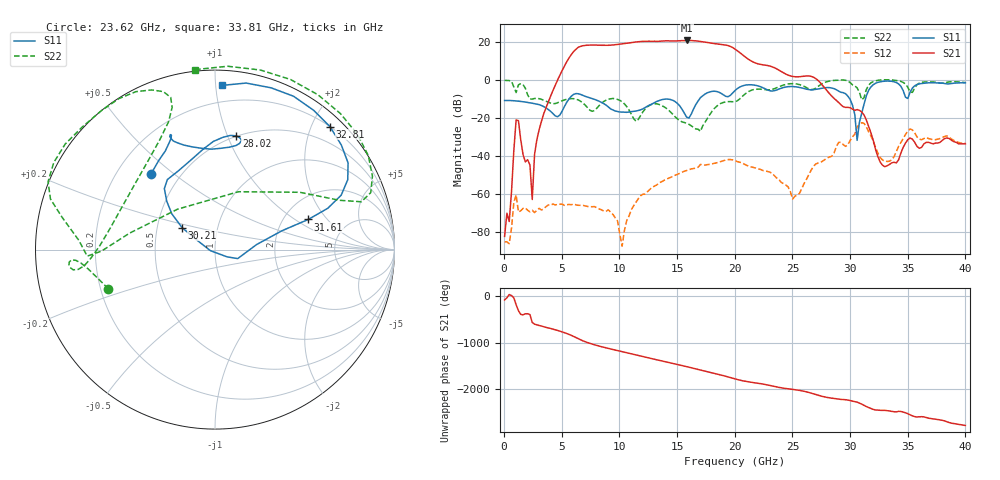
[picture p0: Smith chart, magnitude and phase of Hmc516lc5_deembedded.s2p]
!Hittite Microwave Corporation
!20 Alpha Road
!Chelmsford, MA 01824
!Tel: 978-250-3343
!Fax: 978-250-3373
!Device: HMC516lc5, 12-16 GHz, LNA
!Misc:  Vdd = +3V, Room
# MHZ S MA R 50
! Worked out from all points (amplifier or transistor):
!   201 points, 50 MHz to 40 GHz, reference 50 ohm
!   highest |S21| = 21.1 dB at 15.83 GHz (marker M1)
!   |S21| within 3 dB of that: 6.712 GHz to 19.56 GHz (12.85 GHz wide, 97.8 % of centre)
!   unconditionally stable (mu >= 1): start of sweep to 28.55 GHz; 29.65 GHz to 32.39 GHz; 33.91 GHz to end of sweep
!   at 6.642 GHz: K = 96.11, MAG = 19.2 dB, |S12| = -66.0 dB
!   at 20.02 GHz: K = 6.60, MAG = 18.3 dB, |S12| = -42.4 dB
!   at 40 GHz: K = 66.03, MAG = -21.4 dB, |S12| = -33.2 dB
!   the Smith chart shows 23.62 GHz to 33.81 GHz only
!   S11 on the Smith chart (normalised r, x): 23.62 GHz: 0.34, +0.42; 28.02 GHz: 0.50, +1.08; 30.21 GHz: 0.67, +0.17; 31.61 GHz: 2.71, +1.30; 32.81 GHz: 0.20, +2.29; 33.81 GHz: 0.09, +1.04
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50  0.294 -0.9  7.555e-05 -79.0  5.442e-05 45.1  0.998 -4.2
5842.75  0.384 -34.8  4.837 -123.8  0.0005189 24.5  0.329 86.0
6841.5  0.4 -111.3  8.229 118.9  0.0004987 -1.8  0.252 69.1
8239.75  0.281 -154.8  8.509 6.3  0.0004021 -43.5  0.214 -30.3
10037.5  0.146 -126.0  9.024 -102.0  8.778e-05 -146.0  0.296 -42.9
11635.5  0.16 -151.2  10.47 164.0  0.0007412 4.7  0.092 -126.2
12634.25  0.222 155.2  10.77 105.1  0.001311 -32.0  0.22 -157.1
13433.25  0.291 124.1  10.79 61.3  0.001935 -59.0  0.231 -157.2
14631.75  0.297 101.6  10.97 -7.6  0.002896 -103.1  0.127 -164.6
15830.25  0.107 54.5  11.31 -76.5  0.004145 -153.6  0.073 138.3
17428.25  0.434 -31.3  10.19 -174.0  0.005759 124.1  0.078 124.8
18826.5  0.453 -48.2  8.86 101.5  0.007227 51.4  0.249 61.3
20025  0.537 -151.9  6.7 17.6  0.007622 -20.3  0.273 0.6
23620.5  0.552 130.2  2.023 -153.6  0.00266 -133.5  0.633 -159.9
26816.5  0.565 86.9  1.211 57.8  0.005303 29.0  0.577 140.6
28015  0.645 79.4  0.526 -20.5  0.008858 -26.3  0.926 108.1
30212.25  0.22 146.3  0.174 -101.0  0.032 -109.9  0.76 176.1
31610.5  0.546 17.9  0.061 120.7  0.044 82.0  0.747 21.6
32809  0.938 47.0  0.005737 60.9  0.007883 45.3  1.031 47.4
33408.25  0.954 70.9  0.005975 48.9  0.0073 63.2  1.032 75.8
33807.75  0.916 87.4  0.006861 30.9  0.009592 77.6  1.009 96.4
40000  0.862 137.6  0.021 95.6  0.022 96.7  0.873 135.2
